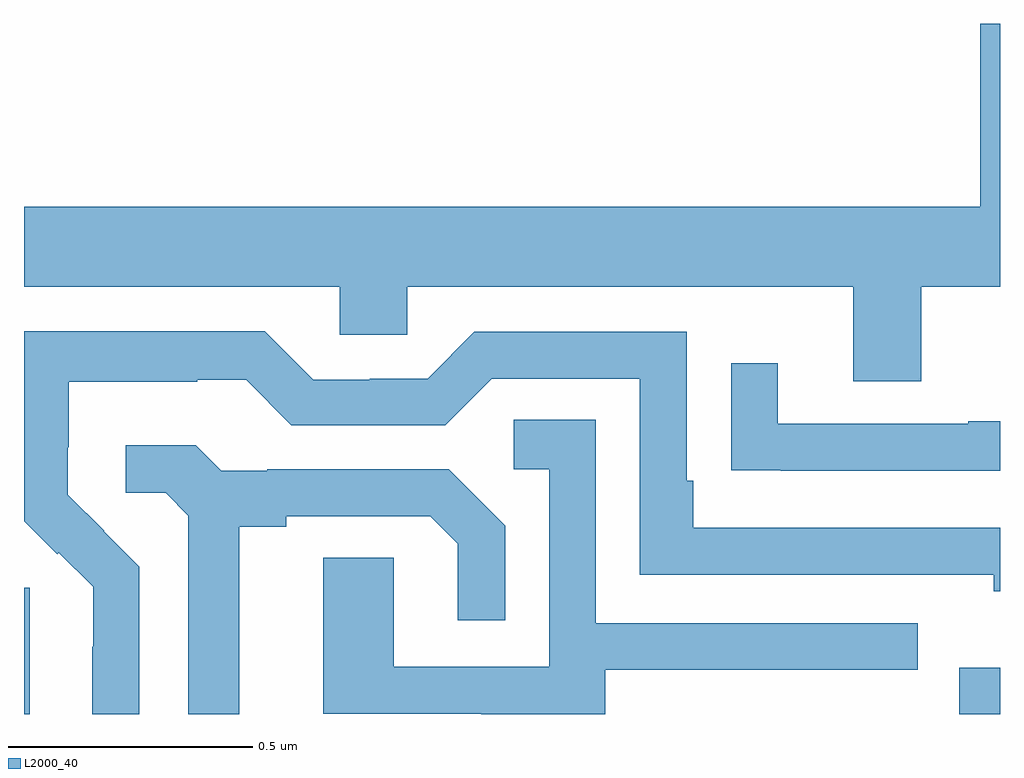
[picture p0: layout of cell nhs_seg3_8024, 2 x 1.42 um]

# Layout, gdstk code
import gdstk
lib = gdstk.Library(unit=1e-6, precision=1e-09)
def R(c, l, rs):  # rectangles x0, y0, x1, y1
    for r in rs: c.add(gdstk.rectangle(r[:2], r[2:], *l))
def P(c, l, *ps):  # polygons
    for p in ps: c.add(gdstk.Polygon(p, *l))
L2000_40 = (2000, 40)

nhs_seg3_8024 = lib.new_cell('nhs_seg3_8024')
R(nhs_seg3_8024, L2000_40, [(211,673.4,211.012,673.659), (212.916,673.4,213,673.495)])
P(nhs_seg3_8024, L2000_40, [(211,674.276),(211.647,674.276),(211.647,674.178),(211.785,674.178),(211.785,674.276),(212.699,674.276),(212.699,674.082),(212.839,674.082),(212.839,674.276),(213,674.276),(213,674.815),(212.96,674.815),(212.96,674.44),(211,674.44)],
  [(211.236,673.702),(211.163,673.775),(211.164,673.776),(211.09,673.85),(211.09,673.947),(211.092,673.947),(211.092,674.081),(211.355,674.081),(211.355,674.085),(211.455,674.085),(211.548,673.992),(211.863,673.992),(211.959,674.088),(212.262,674.088),(212.262,673.686),(212.987,673.686),(212.987,673.652),(213,673.652),(213,673.782),(212.371,673.782),(212.371,673.879),(212.358,673.879),(212.358,674.184),(211.923,674.184),(211.827,674.088),(211.709,674.088),(211.709,674.085),(211.593,674.085),(211.493,674.185),(211,674.185),(211,673.796),(211.068,673.728),(211.071,673.731),(211.142,673.661),(211.142,673.538),(211.14,673.538),(211.14,673.4),(211.236,673.4)],
  [(213,674),(212.935,674),(212.935,673.995),(212.545,673.995),(212.545,674.119),(212.449,674.119),(212.449,673.9),(212.551,673.9),(212.551,673.899),(213,673.899)],
  [(212.191,673.491),(212.831,673.491),(212.831,673.587),(212.172,673.587),(212.172,674.003),(212.004,674.003),(212.004,673.902),(212.076,673.902),(212.076,673.497),(211.758,673.497),(211.758,673.721),(211.613,673.721),(211.613,673.401),(211.937,673.401),(211.937,673.4),(212.191,673.4)],
  [(211.441,673.784),(211.537,673.784),(211.537,673.806),(211.832,673.806),(211.889,673.749),(211.889,673.593),(211.986,673.593),(211.986,673.786),(211.87,673.902),(211.498,673.902),(211.498,673.899),(211.404,673.899),(211.352,673.951),(211.209,673.951),(211.209,673.854),(211.29,673.854),(211.337,673.807),(211.337,673.4),(211.441,673.4)])

lib.write_gds('nhs_seg3_8024.gds')
